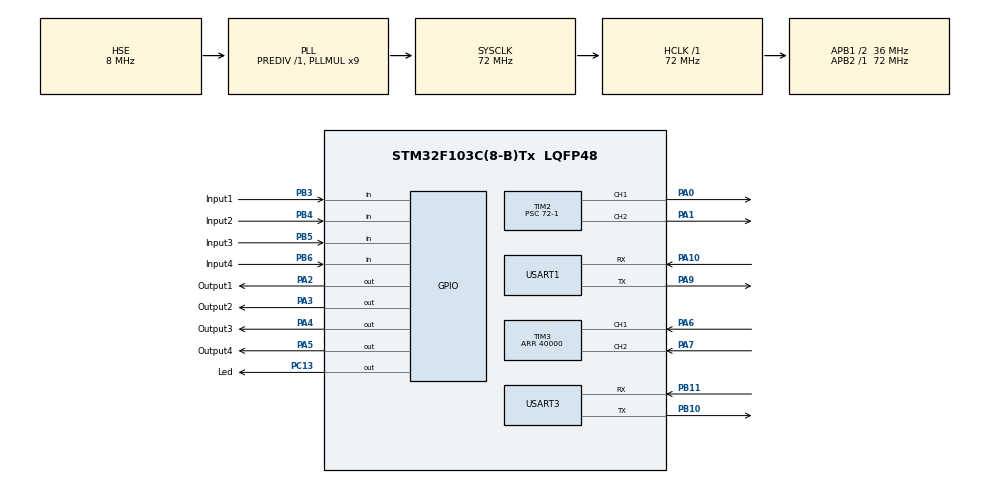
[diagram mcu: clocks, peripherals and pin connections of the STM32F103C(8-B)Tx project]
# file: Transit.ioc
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Mcu.Family=STM32F1
Mcu.Name=STM32F103C(8-B)Tx
Mcu.Package=LQFP48
NVIC.PriorityGroup=NVIC_PRIORITYGROUP_4
NVIC.TIM3_IRQn=true\:0\:0\:true\:false\:true\:true\:true
NVIC.TIM4_IRQn=true\:1\:0\:true\:false\:true\:true\:true
NVIC.USART1_IRQn=true\:0\:0\:false\:false\:true\:true\:true
NVIC.USART3_IRQn=true\:0\:0\:true\:false\:true\:true\:true
PA0-WKUP.Signal=S_TIM2_CH1_ETR
PA1.Signal=S_TIM2_CH2
PA10.Mode=Asynchronous
PA10.Signal=USART1_RX
PA13.Mode=Serial_Wire
PA13.Signal=SYS_JTMS-SWDIO
PA14.Mode=Serial_Wire
PA14.Signal=SYS_JTCK-SWCLK
PA2.GPIO_Label=Output1
PA2.Signal=GPIO_Output
PA3.GPIO_Label=Output2
PA3.Signal=GPIO_Output
PA4.GPIO_Label=Output3
PA4.Signal=GPIO_Output
PA5.GPIO_Label=Output4
PA5.Signal=GPIO_Output
PA6.Signal=S_TIM3_CH1
PA7.Signal=S_TIM3_CH2
PA9.Mode=Asynchronous
PA9.Signal=USART1_TX
PB10.Mode=Asynchronous
PB10.Signal=USART3_TX
PB11.Mode=Asynchronous
PB11.Signal=USART3_RX
PB3.GPIO_Label=Input1
PB3.GPIO_PuPd=GPIO_PULLUP
PB3.Signal=GPIO_Input
PB4.GPIO_Label=Input2
PB4.GPIO_PuPd=GPIO_PULLUP
PB4.Signal=GPIO_Input
PB5.GPIO_Label=Input3
PB5.GPIO_PuPd=GPIO_PULLUP
PB5.Signal=GPIO_Input
PB6.GPIO_Label=Input4
PB6.GPIO_PuPd=GPIO_PULLUP
PB6.Signal=GPIO_Input
PC13-TAMPER-RTC.GPIO_Label=Led
PC13-TAMPER-RTC.Signal=GPIO_Output
PD0-OSC_IN.Mode=HSE-External-Oscillator
PD0-OSC_IN.Signal=RCC_OSC_IN
PD1-OSC_OUT.Mode=HSE-External-Oscillator
PD1-OSC_OUT.Signal=RCC_OSC_OUT
ProjectManager.HeapSize=0x200
ProjectManager.StackSize=0x400
ProjectManager.TargetToolchain=MDK-ARM V5.27
RCC.AHBFreq_Value=72000000
RCC.APB1CLKDivider=RCC_HCLK_DIV2
RCC.APB1Freq_Value=36000000
RCC.APB1TimFreq_Value=72000000
RCC.APB2Freq_Value=72000000
RCC.APB2TimFreq_Value=72000000
RCC.HCLKFreq_Value=72000000
RCC.PLLMUL=RCC_PLL_MUL9
RCC.PLLSourceVirtual=RCC_PLLSOURCE_HSE
RCC.SYSCLKFreq_VALUE=72000000
RCC.SYSCLKSource=RCC_SYSCLKSOURCE_PLLCLK
RCC.USBFreq_Value=72000000
SH.S_TIM2_CH1_ETR.0=TIM2_CH1,PWM Generation1 CH1
SH.S_TIM2_CH2.0=TIM2_CH2,PWM Generation2 CH2
SH.S_TIM3_CH1.0=TIM3_CH1,Encoder_Interface
SH.S_TIM3_CH2.0=TIM3_CH2,Encoder_Interface
TIM2.Channel-PWM\ Generation1\ CH1=TIM_CHANNEL_1
TIM2.Channel-PWM\ Generation2\ CH2=TIM_CHANNEL_2
TIM2.Period=1000-1
TIM2.Prescaler=72-1
TIM3.EncoderMode=TIM_ENCODERMODE_TI12
TIM3.Period=40000
TIM4.AutoReloadPreload=TIM_AUTORELOAD_PRELOAD_ENABLE
TIM4.Period=10000-1
TIM4.Prescaler=7200-1
USART1.VirtualMode=VM_ASYNC
USART3.VirtualMode=VM_ASYNC
VP_TIM2_VS_ClockSourceINT.Mode=Internal
VP_TIM4_VS_ClockSourceINT.Mode=Internal
board=custom

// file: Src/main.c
/* USER CODE BEGIN Header */
/**
  ******************************************************************************
  * @file           : main.c
  * @brief          : Main program body
  ******************************************************************************
  * @attention
  *
  * <h2><center>&copy; Copyright (c) 2023 STMicroelectronics.
  * All rights reserved.</center></h2>
  *
  * This software component is licensed by ST under BSD 3-Clause license,
  * the "License"; You may not use this file except in compliance with the
  * License. You may obtain a copy of the License at:
  *                        opensource.org/licenses/BSD-3-Clause
  *
  ******************************************************************************
  */
/* USER CODE END Header */
#include "main.h"
#include "tim.h"
#include "usart.h"
#include "gpio.h"

/* USER CODE BEGIN Includes */
#include "driver.h"
#include "client.h"
#include "string.h"
#include "stdlib.h"
#include "modbus.h"
/* USER CODE END Includes */

/* USER CODE BEGIN PD */
uint8_t IDENTIFIER = 0x10;		//小车标识符，此时为一号

/* USER CODE END PD */

/* USER CODE BEGIN PM */
uint8_t u1_Rxch=1;

uint8_t u3_Rxlenth=0;
uint8_t u3_Rxbuff[255];
uint8_t u3_Rxch=0;

uint8_t recvflag = 0;	//usart3接受回调函数里的标志。0：代表此时接受的是AT指令标志。1：代表此时接受的是服务器数据（透传模式）

struct MDBOS_ADU ADU;
struct MDBOS_ADU ADU_stat;

uint8_t recving_ADU_flag = 0;	//是否正在接受MODBUS_ADU。0：否；1：是。
uint8_t lenthbuff = 6;	//用来标识此时MODBUS_ADU_head+fun_code有多少字节数据,初始化为6,既此时需要接受6字节数据（2字节协议标识符、2字节后续字节长度、1字节单元标识符、1字节功能码）
uint16_t ADU_head_lenth = 0;	//用来存储MODBUS_ADU_head_lenth
uint8_t ADU_data_pos = 0;	//用来标识ADU_data的下标，数组从零开始
uint8_t data_buff[1024];
uint8_t ADU_data_lenth = 0;

uint8_t FunCode = 0x00;	//小车用来存储MODBUS功能码的中间变量
uint8_t Carspeed = 0;

//uint8_t Carid = 0x01;	//模拟公交编号，不同模拟公交此处编号不同！！！！！！！！！！！！！！！！！！！！！！！！！！
//uint8_t Pstation[6] = {0x05,0x00, 0x04, 0x03, 0x02, 0x01};	//存储该路线站点信息表！！！！！！！！！！！！！！！！！！！！！！！！！！！！！！

uint8_t Pstation[4] = {0x05,0x00, 0x02, 0x01};	//存储该路线站点信息表！！！！！！！！！！！！！！！！！！！！！！！！！！！！！！
uint8_t Carid = 0x02;	//模拟公交编号，不同模拟公交此处编号不同！！！！！！！！！！！！！！！！！！！！！！！！！！

uint8_t Pdistance = 0;
uint8_t cardata[4];	//记录公交此时状态：速度，上一站，距上一站距离，编号
int distance_pos = 0;

uint16_t last_count;
uint16_t curr_count;
uint8_t direct = 0;	//编码器正转0，反转1
uint16_t overflow = 0;	//编码器溢出标志
uint16_t count_temp = 0;

uint8_t send_ADU[12];
int send_to_server_time = 2;	//定时向服务器发送小车状态（单位：s）
int station_stop_time = 9;	//定时公交站点停靠时间（单位：s）
int stop_flag = 0;	//模拟公交停靠标志	0：未停靠，1：停靠

uint8_t special_car = 0x00;	//特殊功能控制车辆
int special_flag = 0;	//判断是否发送过0x45	0：没有	1：有（现在需要复位功能码）

int start_flag = 0;		//标识是否第一次启动 0：第一次，1：不是第一次
/* USER CODE END PM */

void SystemClock_Config(void);
/* USER CODE BEGIN PFP */
void CarStat(void);
void send_ADU_init(void);
/* USER CODE END PFP */

int main(void)
{

  /* MCU Configuration--------------------------------------------------------*/

  /* Reset of all peripherals, Initializes the Flash interface and the Systick. */
  HAL_Init();

  /* Configure the system clock */
  SystemClock_Config();

  /* Initialize all configured peripherals */
  MX_GPIO_Init();
  MX_TIM2_Init();
  MX_USART1_UART_Init();
  MX_USART3_UART_Init();
  MX_TIM3_Init();
  MX_TIM4_Init();
  /* USER CODE BEGIN 2 */
	Connect_Wifi();		//连接局域网
	Connect_IP();	//连接IP

	HAL_TIM_PWM_Start(&htim2,TIM_CHANNEL_1);
	HAL_TIM_PWM_Start(&htim2,TIM_CHANNEL_2);

	HAL_TIM_Encoder_Start(&htim3, TIM_CHANNEL_ALL);
	last_count = __HAL_TIM_GET_COUNTER(&htim3);	//记录当前计数值
	HAL_TIM_Base_Start_IT(&htim4);

	HAL_UART_Receive_IT(&huart3,(uint8_t *)&u3_Rxch,1);	//提前启动串口中断准备接受发送AT指令之后的返回数据
	HAL_UART_Receive_IT(&huart1,(uint8_t *)&u1_Rxch,1);	//启动串口中断接收，必须的

	recvflag = 1;	  //此时过后为透传模式下的数据传输
	send_to_server_time = 2;	//网络连接成功后开始计时
	station_stop_time = 9;
  /* USER CODE END 2 */

  /* Infinite loop */
  while (1)
  {

    /* USER CODE BEGIN 3 */

	  direct = __HAL_TIM_IS_TIM_COUNTING_DOWN(&htim3);	//获取编码器方向

	  if(FunCode == 0x46)	//服务器控制开始自动驾驶
	  {
		  start_flag = 1;
		  switch(Carid)
		  {
			  case 0x01:FollowTheTrack1();break;
			  case 0x02:FollowTheTrack2();break;
			  default:break;
		  }
	  }
	  else if(FunCode == 0x47)	//服务器控制结束模拟公交
	  {
		  recvflag = 0;
		  Stop();
		  Break_IP();
		  break;
	  }
	  else if(FunCode == 0x45)
	  {
		  if(special_car == Carid)
		  {
			  Stop();
		  }
		  else
			  FunCode =0x46;
	  }
	  else if(FunCode == 0x43)
		  FunCode = 0x46;
  }
  /* USER CODE END 3 */
}

void SystemClock_Config(void)
{
  RCC_OscInitTypeDef RCC_OscInitStruct = {0};
  RCC_ClkInitTypeDef RCC_ClkInitStruct = {0};

  /** Initializes the RCC Oscillators according to the specified parameters
  * in the RCC_OscInitTypeDef structure.
  */
  RCC_OscInitStruct.OscillatorType = RCC_OSCILLATORTYPE_HSE;
  RCC_OscInitStruct.HSEState = RCC_HSE_ON;
  RCC_OscInitStruct.HSEPredivValue = RCC_HSE_PREDIV_DIV1;
  RCC_OscInitStruct.HSIState = RCC_HSI_ON;
  RCC_OscInitStruct.PLL.PLLState = RCC_PLL_ON;
  RCC_OscInitStruct.PLL.PLLSource = RCC_PLLSOURCE_HSE;
  RCC_OscInitStruct.PLL.PLLMUL = RCC_PLL_MUL9;
  if (HAL_RCC_OscConfig(&RCC_OscInitStruct) != HAL_OK)
  {
    Error_Handler();
  }
  /** Initializes the CPU, AHB and APB buses clocks
  */
  RCC_ClkInitStruct.ClockType = RCC_CLOCKTYPE_HCLK|RCC_CLOCKTYPE_SYSCLK
                              |RCC_CLOCKTYPE_PCLK1|RCC_CLOCKTYPE_PCLK2;
  RCC_ClkInitStruct.SYSCLKSource = RCC_SYSCLKSOURCE_PLLCLK;
  RCC_ClkInitStruct.AHBCLKDivider = RCC_SYSCLK_DIV1;
  RCC_ClkInitStruct.APB1CLKDivider = RCC_HCLK_DIV2;
  RCC_ClkInitStruct.APB2CLKDivider = RCC_HCLK_DIV1;

  if (HAL_RCC_ClockConfig(&RCC_ClkInitStruct, FLASH_LATENCY_2) != HAL_OK)
  {
    Error_Handler();
  }
}

/* USER CODE BEGIN 4 */
void CarStat()
{
	cardata[0] = Carspeed;
	cardata[1] = Pstation[distance_pos];
	cardata[2] = Pdistance;
	cardata[3] = Carid;
}
//发送ADU初始化
void send_ADU_init()
{
	CarStat();
    ADU_stat = modbus_rsp_ADU_stat(cardata);

    send_ADU[0] = ADU_stat.head.TMIdent[0];
    send_ADU[1] = ADU_stat.head.TMIdent[1];
    send_ADU[2] = ADU_stat.head.PIdent[0];
    send_ADU[3] = ADU_stat.head.PIdent[1];
    send_ADU[4] = ADU_stat.head.lenth[1];
    send_ADU[5] = ADU_stat.head.lenth[0];
    send_ADU[6] = ADU_stat.head.UIdent;
    send_ADU[7] = ADU_stat.fun_code;
    send_ADU[8] = ADU_stat.data[0];
    send_ADU[9] = ADU_stat.data[1];
    send_ADU[10] = ADU_stat.data[2];
    send_ADU[11] = ADU_stat.data[3];
}

//定时器中断回调函数
void HAL_TIM_PeriodElapsedCallback(TIM_HandleTypeDef *htim)
{
	if(htim == &htim4)	//1s进来一次
	{
		send_to_server_time--;		//定时计数（定时2s）

		if(send_to_server_time < 0&&start_flag == 1)	//发送小车状态
	  {
		  send_ADU_init();
		  Send_Data(send_ADU ,12);
		  send_to_server_time = 2;	//复位定时，下次发送小车状态
	  }

		if(stop_flag == 1)
			station_stop_time--;

		curr_count = __HAL_TIM_GET_COUNTER(&htim3);
		if(direct == 0)
		{
			count_temp = curr_count+(4000-last_count)+(overflow-1)*4000;	//编码器1s接收到的信号
			count_temp=count_temp/14;	//编码器转速（电机转一圈14个信号）
			Carspeed = count_temp/10 ;	//电机减速比10
			Pdistance = Pdistance + Carspeed;

//			printf("direct:%d\tCarspeed:%x\t%d\n",direct,Carspeed,Carspeed);
		}
		else if(direct == 1)
		{
			count_temp = last_count+(4000-curr_count)+(overflow-1)*4000;	//编码器1s接收到的信号
			count_temp=count_temp/14;	//编码器转速（电机转一圈14个信号）

			Carspeed = count_temp/10;	//电机减速比10
			Pdistance = Pdistance + Carspeed;
		}

		overflow = 0;
		last_count = curr_count;
		count_temp = 0;
	}
	else if(htim == &htim3)
	{
		if(direct == 0)
			overflow++;
		else if(direct == 1)
			overflow--;
	}
}

//USART发送中断回调函数
//@brief Transit callback function for USART3
void HAL_UART_TxCpltCallback(UART_HandleTypeDef *huart)
{
    if(huart->Instance == USART3)//判断串口号
    {
		HAL_UART_Receive_IT(&huart3,(uint8_t *)&u3_Rxch,1);	//启动串口中断接收，必须的
    }
}

//USART接受中断服务函数
//@brief Rewrite callback function for USART3
void HAL_UART_RxCpltCallback(UART_HandleTypeDef *huart)
{
    if(huart->Instance == USART3)//判断串口号——usart3不定长接受数据
    {
		u3_Rxlenth++;
		u3_Rxbuff[u3_Rxlenth-1] = u3_Rxch;
		if(recvflag == 0)
		{
			if(u3_Rxch == 0x0A&&u3_Rxbuff[u3_Rxlenth-2] == 0x0D&&u3_Rxbuff[u3_Rxlenth-3] == 0x4B&&u3_Rxbuff[u3_Rxlenth-4] == 0x4F)	//结束标志 0x4f 0x4b 0x0d 0x0a(“OK\r\n”)
			{
				printf("Recedatalenth:%d\n",u3_Rxlenth);

				printf("%s\n",u3_Rxbuff);
				memset(u3_Rxbuff,0,sizeof(u3_Rxbuff));
				u3_Rxlenth=0;
			}
			u3_Rxch = 0;
			HAL_UART_Receive_IT(&huart3,(uint8_t *)&u3_Rxch,1);	//启动串口中断接收，必须的（准备接受下次数据）
		}
		else if(recvflag == 1)
		{
			if(recving_ADU_flag == 0)	//此时接受的是普通数据
			{
				if(u3_Rxch == 0x00)	//结束标志 0x0(“\0”)
				{
					printf("%s",u3_Rxbuff);
					memset(u3_Rxbuff,0,sizeof(u3_Rxbuff));
					u3_Rxlenth=0;
				}
				else if(u3_Rxch == 0x01&&u3_Rxbuff[u3_Rxlenth-2] == 0x15)	//获取MODBUS_ADU事务处理标识符
				{
					recving_ADU_flag = 1;
					ADU.head.TMIdent[1] = u3_Rxch;
					ADU.head.TMIdent[0] = u3_Rxbuff[u3_Rxlenth-2];

					memset(data_buff,0,sizeof(data_buff));
				}
			}
			else	//此时正在接受MODBUS_ADU
			{
				switch(lenthbuff)
				{
					case 0 : ADU_head_lenth = *(uint8_t *)ADU.head.lenth; break;
					case 1 : ADU.fun_code = u3_Rxch; break;
					case 2 : ADU.head.UIdent = u3_Rxch; break;
					case 3 : ADU.head.lenth[0] = u3_Rxch; break;
					case 4 : ADU.head.lenth[1] = u3_Rxch; break;
					case 5 : ADU.head.PIdent[0] = u3_Rxch; break;
					case 6 : ADU.head.PIdent[1] = u3_Rxch; break;
					default : break;
				}

				lenthbuff = lenthbuff - 1;

				if(ADU_head_lenth != 0 && ADU_data_lenth == 0)	//得出真实数据长度
					ADU_data_lenth = ADU_head_lenth - 2;

				if(ADU_data_lenth > 0)	//此时开始接受ADU_data数据
				{
					data_buff[ADU_data_pos] = u3_Rxch;
					ADU_data_pos++;

					if(ADU_data_lenth == 1)	//数据接受即将结束
					{
						ADU.data = data_buff;	//将MODBUS_ADU_DATA指向我们的数据缓冲区

						//为下一次接受做准备
						memset(u3_Rxbuff,0,sizeof(u3_Rxbuff));

						u3_Rxlenth = 0;
						recving_ADU_flag = 0;
						lenthbuff = 6;
						ADU_data_pos = 0;
						ADU_head_lenth = 0;
					}

					ADU_data_lenth--;
				}
				else if(ADU_head_lenth == 2)	//请求ADU
				{
					//为下一次接受做准备
					memset(u3_Rxbuff,0,sizeof(u3_Rxbuff));

					u3_Rxlenth = 0;
					recving_ADU_flag = 0;
					lenthbuff = 6;
					ADU_data_pos = 0;
					ADU_head_lenth = 0;
				}

				if(recving_ADU_flag == 0)	//接受完成，打印
				{
					FunCode = ADU.fun_code;	//	标注此次MODBUS功能码
					if(FunCode == 0x45)
					{
						special_car = ADU.data[0];
					}

					printf("TMIdent[0]:%x\nTMIdent[1]:%x\n",ADU.head.TMIdent[0],ADU.head.TMIdent[1]);
					printf("PIdent[0]:%x\n",ADU.head.PIdent[0]);
					printf("PIdent[1]:%x\n",ADU.head.PIdent[1]);
					printf("lenth[0]:%x\n",ADU.head.lenth[0]);
					printf("lenth[1]:%x\n",ADU.head.lenth[1]);
					printf("UIdent:%x\n",ADU.head.UIdent);
					printf("fun_code:%x\n",ADU.fun_code);

					uint16_t databu =  *(uint8_t *)ADU.head.lenth - 2;
					int p = 0;
					while(databu)
					{
						printf("ADU.data[%d]:%x\n",p,ADU.data[p]);
						p++;
						databu--;
					}
				}
			}

			u3_Rxch = 0;
			HAL_UART_Receive_IT(&huart3,(uint8_t *)&u3_Rxch,1);	//启动串口中断接收，必须的（准备接受下次数据）
		}
	}
}
/* USER CODE END 4 */

void Error_Handler(void)
{
}

/************************ (C) COPYRIGHT STMicroelectronics *****END OF FILE****/
